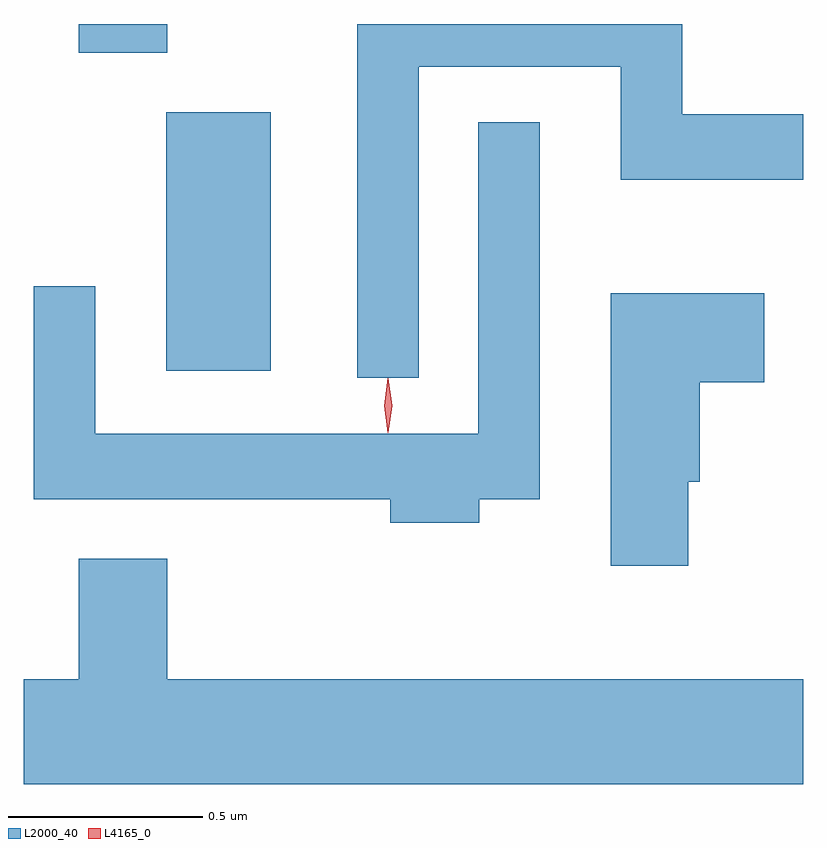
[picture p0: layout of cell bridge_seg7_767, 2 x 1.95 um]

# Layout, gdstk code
import gdstk
lib = gdstk.Library(unit=1e-6, precision=1e-09)
def R(c, l, rs):  # rectangles x0, y0, x1, y1
    for r in rs: c.add(gdstk.rectangle(r[:2], r[2:], *l))
def P(c, l, *ps):  # polygons
    for p in ps: c.add(gdstk.Polygon(p, *l))
L2000_40 = (2000, 40)
L4165_0 = (4165, 0)

bridge_seg7_767 = lib.new_cell('bridge_seg7_767')
R(bridge_seg7_767, L2000_40, [(591.926,1744.236,592.194,1744.899), (591.701,1745.051,591.929,1745.125)])
P(bridge_seg7_767, L2000_40, [(592.574,1745.016),(593.091,1745.016),(593.091,1744.726),(593.56,1744.726),(593.56,1744.894),(593.249,1744.894),(593.249,1745.125),(592.416,1745.125),(592.416,1744.218),(592.574,1744.218)],
  [(592.729,1743.906),(592.884,1743.906),(592.884,1744.873),(592.726,1744.873),(592.726,1744.074),(591.744,1744.074),(591.744,1744.453),(591.586,1744.453),(591.586,1743.906),(592.501,1743.906),(592.501,1743.846),(592.729,1743.846)],
  [(593.264,1743.951),(593.294,1743.951),(593.294,1744.206),(593.459,1744.206),(593.459,1744.434),(593.066,1744.434),(593.066,1743.736),(593.264,1743.736)],
  [(593.56,1743.444),(591.929,1743.444),(591.929,1743.754),(591.701,1743.754),(591.701,1743.444),(591.56,1743.444),(591.56,1743.176),(593.56,1743.176)])
P(bridge_seg7_767, L4165_0, [(592.494,1744.077),(592.485,1744.146),(592.494,1744.216),(592.495,1744.216),(592.495,1744.216),(592.505,1744.146),(592.495,1744.077),(592.495,1744.077)],
  [(592.495,1744.079),(592.494,1744.08),(592.485,1744.146),(592.494,1744.212),(592.495,1744.213),(592.495,1744.212),(592.505,1744.146),(592.495,1744.08)])

lib.write_gds('bridge_seg7_767.gds')
